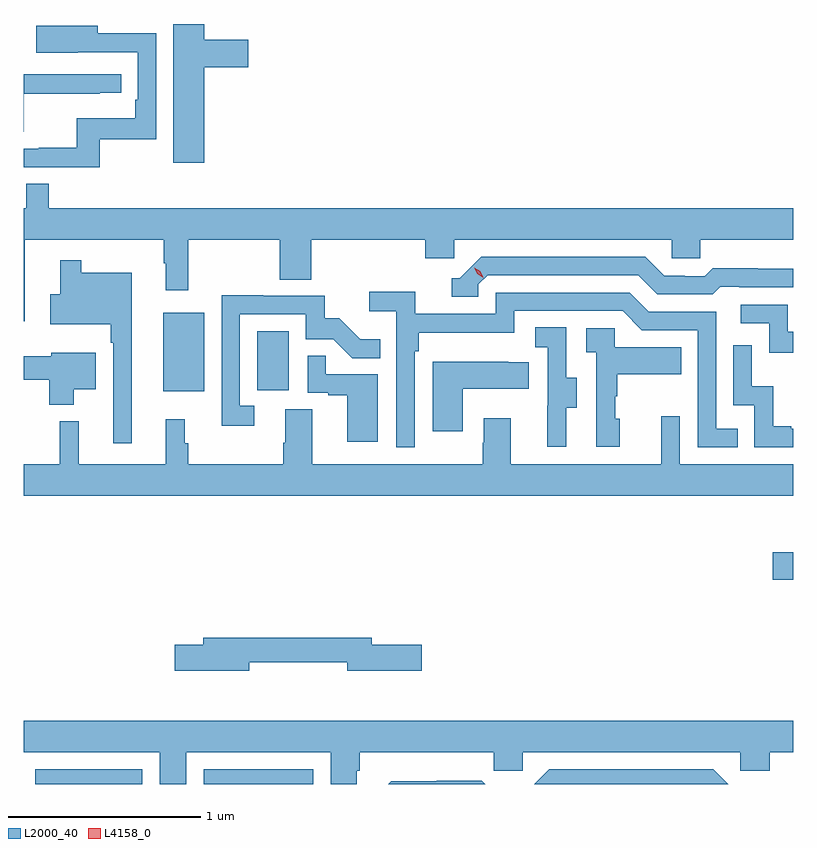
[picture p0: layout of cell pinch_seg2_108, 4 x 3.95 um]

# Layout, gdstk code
import gdstk
lib = gdstk.Library(unit=1e-6, precision=1e-09)
def R(c, l, rs):  # rectangles x0, y0, x1, y1
    for r in rs: c.add(gdstk.rectangle(r[:2], r[2:], *l))
def P(c, l, *ps):  # polygons
    for p in ps: c.add(gdstk.Polygon(p, *l))
L2000_40 = (2000, 40)
L4158_0 = (4158, 0)

pinch_seg2_108 = lib.new_cell('pinch_seg2_108')
R(pinch_seg2_108, L2000_40, [(1041.51,628.822,1042.068,628.899), (1042.386,628.822,1042.956,628.899), (1045.344,629.885,1045.451,630.027), (1042.175,630.863,1042.39,631.273), (1042.664,630.87,1042.828,631.177)])
P(pinch_seg2_108, L2000_40, [(1042.39,632.549),(1042.618,632.549),(1042.618,632.691),(1042.39,632.691),(1042.39,632.773),(1042.229,632.773),(1042.229,632.052),(1042.39,632.052)],
  [(1041.847,632.175),(1042.14,632.175),(1042.14,632.726),(1041.835,632.726),(1041.835,632.764),(1041.517,632.764),(1041.517,632.624),(1041.731,632.624),(1041.731,632.625),(1042.044,632.625),(1042.044,632.38),(1042.031,632.38),(1042.031,632.284),(1041.726,632.284),(1041.726,632.129),(1041.529,632.129),(1041.529,632.124),(1041.451,632.124),(1041.451,632.028),(1041.847,632.028)],
  [(1041.452,632.41),(1041.845,632.41),(1041.845,632.415),(1041.958,632.415),(1041.958,632.511),(1041.451,632.511),(1041.451,632.214),(1041.452,632.214)],
  [(1041.457,631.652),(1042.179,631.652),(1042.179,631.529),(1042.19,631.529),(1042.19,631.389),(1042.307,631.389),(1042.307,631.652),(1042.781,631.652),(1042.781,631.444),(1042.946,631.444),(1042.946,631.652),(1043.537,631.652),(1043.537,631.554),(1043.688,631.554),(1043.688,631.652),(1044.819,631.652),(1044.819,631.554),(1044.969,631.554),(1044.969,631.652),(1045.451,631.652),(1045.451,631.816),(1041.581,631.816),(1041.581,631.943),(1041.465,631.943),(1041.465,631.816),(1041.451,631.816),(1041.451,631.227),(1041.457,631.227)],
  [(1043.814,631.419),(1043.862,631.467),(1044.645,631.467),(1044.744,631.368),(1045.033,631.368),(1045.072,631.407),(1045.171,631.407),(1045.171,631.404),(1045.451,631.404),(1045.451,631.501),(1045.266,631.501),(1045.266,631.504),(1045.033,631.504),(1044.991,631.461),(1044.888,631.461),(1044.888,631.464),(1044.781,631.464),(1044.682,631.563),(1043.829,631.563),(1043.718,631.452),(1043.675,631.452),(1043.675,631.356),(1043.814,631.356)],
  [(1042.012,631.48),(1041.751,631.48),(1041.751,631.546),(1041.641,631.546),(1041.641,631.369),(1041.588,631.369),(1041.588,631.211),(1041.903,631.211),(1041.903,631.115),(1041.915,631.115),(1041.915,630.594),(1042.012,630.594)],
  [(1043.484,631.073),(1043.504,631.073),(1043.504,631.169),(1044,631.169),(1044,631.281),(1044.564,631.281),(1044.663,631.182),(1044.954,631.182),(1044.954,630.573),(1045.163,630.573),(1045.163,630.669),(1045.05,630.669),(1045.05,631.278),(1044.7,631.278),(1044.601,631.377),(1043.904,631.377),(1043.904,631.266),(1043.486,631.266),(1043.486,631.382),(1043.247,631.382),(1043.247,631.28),(1043.388,631.28),(1043.388,630.573),(1043.484,630.573)],
  [(1042.648,630.789),(1042.575,630.789),(1042.575,631.263),(1042.917,631.263),(1042.917,631.134),(1043.061,631.134),(1043.159,631.036),(1043.303,631.036),(1043.303,631.135),(1043.199,631.135),(1043.092,631.242),(1043.016,631.242),(1043.016,631.359),(1042.697,631.359),(1042.697,631.364),(1042.479,631.364),(1042.479,630.684),(1042.648,630.684)],
  [(1045.451,631.173),(1045.422,631.173),(1045.422,631.314),(1045.179,631.314),(1045.179,631.218),(1045.326,631.218),(1045.326,631.065),(1045.451,631.065)],
  [(1044.271,630.778),(1044.325,630.778),(1044.325,630.933),(1044.27,630.933),(1044.27,631.196),(1044.111,631.196),(1044.111,631.093),(1044.174,631.093),(1044.174,630.789),(1044.173,630.789),(1044.173,630.576),(1044.271,630.576)],
  [(1044.55,630.72),(1044.525,630.72),(1044.525,630.839),(1044.535,630.839),(1044.535,630.953),(1044.869,630.953),(1044.869,631.093),(1044.522,631.093),(1044.522,631.191),(1044.375,631.191),(1044.375,631.067),(1044.426,631.067),(1044.426,630.576),(1044.55,630.576)],
  [(1045.451,630.669),(1045.441,630.669),(1045.441,630.682),(1045.346,630.682),(1045.346,630.89),(1045.236,630.89),(1045.236,631.102),(1045.14,631.102),(1045.14,630.792),(1045.248,630.792),(1045.248,630.573),(1045.451,630.573)],
  [(1041.712,630.875),(1041.826,630.875),(1041.826,631.063),(1041.594,631.063),(1041.594,631.045),(1041.451,631.045),(1041.451,630.923),(1041.583,630.923),(1041.583,630.794),(1041.712,630.794)],
  [(1043.29,630.951),(1043.021,630.951),(1043.021,631.049),(1042.926,631.049),(1042.926,630.855),(1043.033,630.855),(1043.033,630.843),(1043.132,630.843),(1043.132,630.6),(1043.29,630.6)],
  [(1043.734,630.878),(1044.077,630.878),(1044.077,631.015),(1043.969,631.015),(1043.969,631.018),(1043.576,631.018),(1043.576,630.657),(1043.734,630.657)],
  [(1045.451,630.484),(1044.861,630.484),(1044.861,630.733),(1044.764,630.733),(1044.764,630.484),(1043.983,630.484),(1043.983,630.724),(1043.843,630.724),(1043.843,630.596),(1043.836,630.596),(1043.836,630.484),(1042.951,630.484),(1042.951,630.77),(1042.811,630.77),(1042.811,630.596),(1042.799,630.596),(1042.799,630.484),(1042.307,630.484),(1042.307,630.593),(1042.289,630.593),(1042.289,630.718),(1042.19,630.718),(1042.19,630.484),(1041.737,630.484),(1041.737,630.709),(1041.638,630.709),(1041.638,630.484),(1041.451,630.484),(1041.451,630.32),(1045.451,630.32)],
  [(1042.624,629.454),(1043.132,629.454),(1043.132,629.411),(1043.521,629.411),(1043.521,629.546),(1043.26,629.546),(1043.26,629.582),(1042.385,629.582),(1042.385,629.546),(1042.236,629.546),(1042.236,629.411),(1042.624,629.411)],
  [(1042.296,628.988),(1043.046,628.988),(1043.046,628.822),(1043.183,628.822),(1043.183,628.89),(1043.198,628.89),(1043.198,628.988),(1043.895,628.988),(1043.895,628.89),(1044.045,628.89),(1044.045,628.988),(1045.176,628.988),(1045.176,628.89),(1045.328,628.89),(1045.328,628.988),(1045.451,628.988),(1045.451,629.152),(1041.451,629.152),(1041.451,628.988),(1042.157,628.988),(1042.157,628.822),(1042.296,628.822)],
  [(1045.035,628.899),(1044.182,628.899),(1044.105,628.822),(1045.112,628.822)],
  [(1043.831,628.84),(1043.598,628.84),(1043.598,628.837),(1043.362,628.837),(1043.347,628.822),(1043.849,628.822)])
P(pinch_seg2_108, L4158_0, [(1043.839,631.454),(1043.808,631.474),(1043.792,631.506),(1043.792,631.506),(1043.792,631.506),(1043.823,631.487),(1043.839,631.454),(1043.839,631.454)])

lib.write_gds('pinch_seg2_108.gds')
